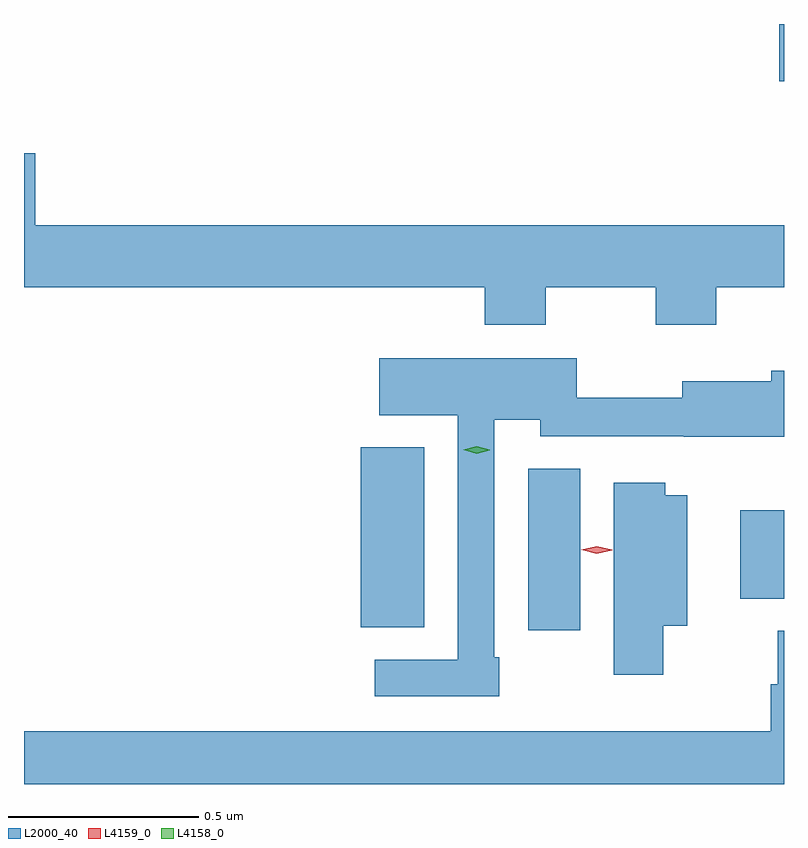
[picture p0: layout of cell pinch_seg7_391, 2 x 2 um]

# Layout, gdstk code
import gdstk
lib = gdstk.Library(unit=1e-6, precision=1e-09)
def R(c, l, rs):  # rectangles x0, y0, x1, y1
    for r in rs: c.add(gdstk.rectangle(r[:2], r[2:], *l))
def P(c, l, *ps):  # polygons
    for p in ps: c.add(gdstk.Polygon(p, *l))
L2000_40 = (2000, 40)
L4158_0 = (4158, 0)
L4159_0 = (4159, 0)

pinch_seg7_391 = lib.new_cell('pinch_seg7_391')
R(pinch_seg7_391, L2000_40, [(490.145,1023.69,490.282,1024.115), (489.704,1023.697,489.871,1024.171), (490.703,1023.773,490.818,1024.006), (490.806,1025.134,490.818,1025.285)])
P(pinch_seg7_391, L2000_40, [(490.191,1024.592),(490.48,1024.592),(490.48,1024.493),(490.64,1024.493),(490.64,1024.592),(490.818,1024.592),(490.818,1024.756),(488.848,1024.756),(488.848,1024.945),(488.818,1024.945),(488.818,1024.592),(490.031,1024.592),(490.031,1024.493),(490.191,1024.493)],
  [(490.069,1023.619),(490.056,1023.619),(490.056,1024.244),(490.176,1024.244),(490.176,1024.2),(490.554,1024.2),(490.554,1024.199),(490.818,1024.199),(490.818,1024.372),(490.785,1024.372),(490.785,1024.345),(490.55,1024.345),(490.55,1024.301),(490.272,1024.301),(490.272,1024.405),(489.753,1024.405),(489.753,1024.256),(489.96,1024.256),(489.96,1023.612),(489.741,1023.612),(489.741,1023.516),(490.069,1023.516)],
  [(490.5,1023.701),(490.564,1023.701),(490.564,1024.045),(490.505,1024.045),(490.505,1024.078),(490.37,1024.078),(490.37,1023.573),(490.5,1023.573)],
  [(488.818,1023.285),(490.818,1023.285),(490.818,1023.688),(490.801,1023.688),(490.801,1023.548),(490.783,1023.548),(490.783,1023.424),(488.818,1023.424)])
P(pinch_seg7_391, L4158_0, [(490.009,1024.154),(489.974,1024.165),(489.974,1024.165),(489.974,1024.165),(490.009,1024.174),(490.044,1024.164),(490.044,1024.164),(490.044,1024.163)])
P(pinch_seg7_391, L4159_0, [(490.325,1023.891),(490.285,1023.901),(490.285,1023.901),(490.285,1023.902),(490.325,1023.911),(490.366,1023.901),(490.366,1023.9),(490.366,1023.9)])

lib.write_gds('pinch_seg7_391.gds')
